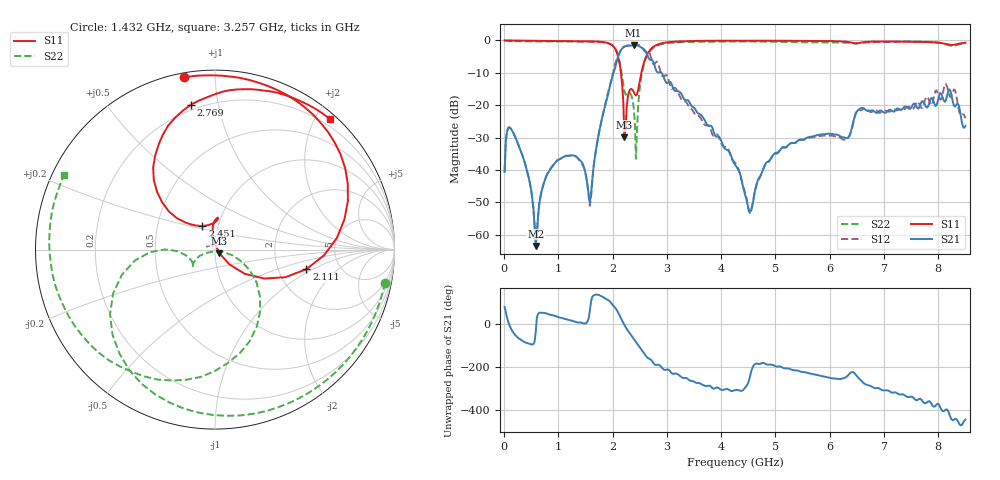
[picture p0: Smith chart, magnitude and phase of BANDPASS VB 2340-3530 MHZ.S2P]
!Agilent Technologies,E5071C,MY46101917,A.08.10
!Date: Mon Jan 01 00:58:09 2001
!Data & Calibration Information:
!Freq	S11:SOLT2(ON)	S21:SOLT2(ON)	S12:SOLT2(ON)	S22:SOLT2(ON)
# Hz S dB R 50
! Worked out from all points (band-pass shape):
!   401 points, 10 MHz to 8.5 GHz, reference 50 ohm
!   highest |S21| = -1.47 dB at 2.387 GHz (marker M1); lowest = -63.5 dB at 583.1 MHz (marker M2)
!   |S21| within 3 dB of the highest: 2.111 GHz to 2.636 GHz (525.5 MHz wide, 22.1 % of centre)
!   lowest |S11| = -29.9 dB at 2.217 GHz (marker M3), VSWR 1.07, Z = 52.5 - j2.13 ohm
!   |S11| at or under -10 dB: 2.154 GHz to 2.53 GHz (376.3 MHz wide, 16.1 % of centre)
!   |S22| runs from -36.6 to 0.0 dB; largest |S21 - S12| = 0.14
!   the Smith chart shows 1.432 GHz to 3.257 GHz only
!   S11 on the Smith chart (normalised r, x): 1.432 GHz: 0.02, +0.84; 2.111 GHz: 2.88, -0.86; 2.451 GHz: 0.84, +0.22; 2.769 GHz: 0.17, +0.83; 3.257 GHz: 0.09, +2.20
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1e7  -0.00 -12.1  -40.61 77.5  -40.60 77.5  -0.00 -12.8
2.2225e8  -0.06 -144.8  -30.49 -56.5  -30.52 -56.1  -0.19 -163.0
5.83075e8  -0.12 165.1  -63.52 -39.3  -63.56 -40.6  -0.32 118.2
8.80225e8  -0.15 141.1  -39.16 40.6  -39.03 40.0  -0.31 71.2
1.432075e9  -0.22 100.2  -37.55 4.4  -38.09 4.5  -0.31 -11.0
1.601875e9  -0.28 86.0  -47.78 103.3  -48.49 106.9  -0.35 -38.3
2.111275e9  -5.67 -12.1  -4.45 47.1  -4.47 44.3  -5.38 -164.8
2.2174e9  -29.90 -39.3  -1.93 -5.4  -1.86 -6.0  -15.67 -168.8
2.3872e9  -15.83 86.2  -1.47 -68.9  -1.49 -68.4  -20.56 -157.6
2.450875e9  -16.57 118.4  -1.51 -91.0  -1.39 -89.4  -27.21 -17.5
2.76925e9  -1.75 99.5  -7.53 172.7  -7.29 -176.0  -2.03 -113.7
2.85415e9  -1.11 87.4  -9.85 169.9  -7.95 154.5  -1.37 -133.7
3.257425e9  -0.28 48.8  -16.26 115.8  -17.90 106.5  -0.55 153.6
3.7456e9  -0.12 16.6  -26.14 72.6  -26.16 79.1  -0.38 82.2
4.255e9  -0.09 -12.5  -38.38 53.2  -37.77 56.2  -0.32 10.9
4.530925e9  -0.09 -27.9  -52.94 116.2  -53.36 118.0  -0.34 -27.0
4.97665e9  -0.10 -51.8  -35.02 166.9  -35.09 165.9  -0.41 -87.2
5.677075e9  -0.16 -89.3  -29.69 128.0  -29.90 126.9  -0.59 -179.8
6.33505e9  -0.45 -126.0  -30.08 120.6  -30.22 125.0  -0.70 95.0
7.09915e9  -0.33 -164.0  -21.44 48.3  -22.03 49.8  -0.40 4.9
7.8208e9  -0.50 155.9  -20.06 2.3  -18.08 -6.8  -0.42 -84.8
8.5e9  -0.70 124.6  -26.45 -82.7  -24.07 -104.2  -0.81 -170.0
